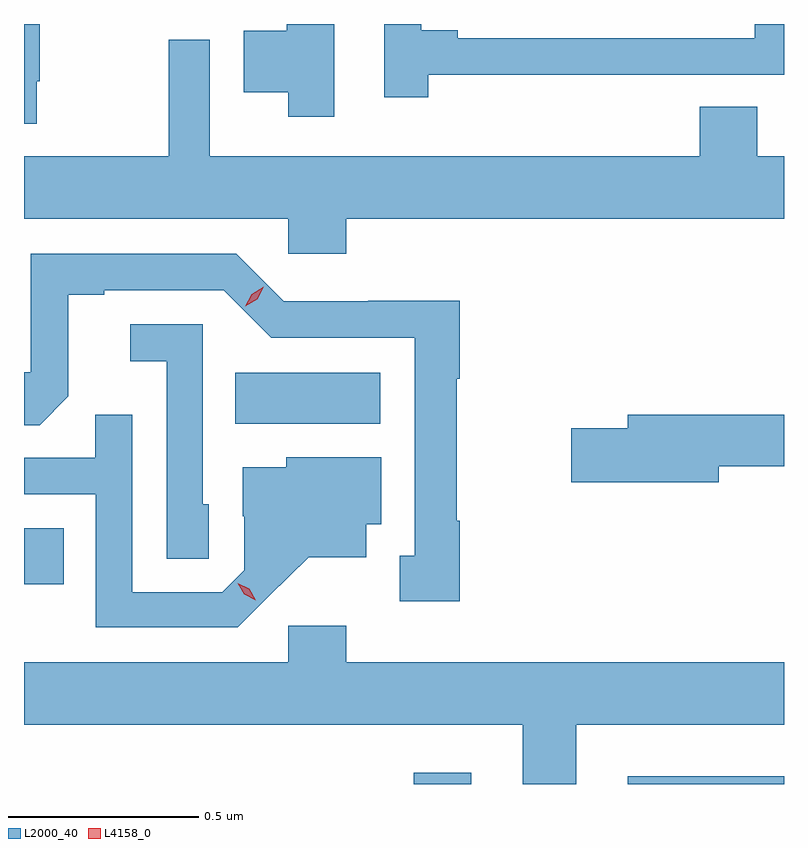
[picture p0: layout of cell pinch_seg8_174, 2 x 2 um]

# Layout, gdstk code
import gdstk
lib = gdstk.Library(unit=1e-6, precision=1e-09)
def R(c, l, rs):  # rectangles x0, y0, x1, y1
    for r in rs: c.add(gdstk.rectangle(r[:2], r[2:], *l))
def P(c, l, *ps):  # polygons
    for p in ps: c.add(gdstk.Polygon(p, *l))
L2000_40 = (2000, 40)
L4158_0 = (4158, 0)

pinch_seg8_174 = lib.new_cell('pinch_seg8_174')
R(pinch_seg8_174, L2000_40, [(695.057,1145.648,695.209,1145.677), (695.621,1145.648,696.032,1145.668), (694.032,1146.174,694.136,1146.321), (694.588,1146.596,694.969,1146.73)])
P(pinch_seg8_174, L2000_40, [(694.066,1147.498),(694.074,1147.498),(694.074,1147.648),(694.032,1147.648),(694.032,1147.386),(694.066,1147.386)],
  [(695.096,1147.514),(695.726,1147.514),(695.726,1147.515),(696.032,1147.515),(696.032,1147.648),(695.955,1147.648),(695.955,1147.611),(695.173,1147.611),(695.173,1147.631),(695.078,1147.631),(695.078,1147.648),(694.98,1147.648),(694.98,1147.455),(695.096,1147.455)],
  [(694.849,1147.648),(694.724,1147.648),(694.724,1147.63),(694.61,1147.63),(694.61,1147.469),(694.727,1147.469),(694.727,1147.404),(694.849,1147.404)],
  [(694.88,1147.136),(696.032,1147.136),(696.032,1147.3),(695.962,1147.3),(695.962,1147.43),(695.81,1147.43),(695.81,1147.3),(694.521,1147.3),(694.521,1147.606),(694.413,1147.606),(694.413,1147.3),(694.032,1147.3),(694.032,1147.136),(694.728,1147.136),(694.728,1147.043),(694.88,1147.043)],
  [(695.179,1146.341),(695.171,1146.341),(695.171,1146.715),(695.179,1146.715),(695.179,1146.92),(694.938,1146.92),(694.938,1146.918),(694.716,1146.918),(694.59,1147.044),(694.05,1147.044),(694.05,1146.732),(694.032,1146.732),(694.032,1146.592),(694.073,1146.592),(694.149,1146.668),(694.149,1146.936),(694.243,1146.936),(694.243,1146.948),(694.557,1146.948),(694.683,1146.822),(695.06,1146.822),(695.06,1146.249),(695.021,1146.249),(695.021,1146.129),(695.179,1146.129)],
  [(694.518,1146.384),(694.503,1146.384),(694.503,1146.858),(694.311,1146.858),(694.311,1146.761),(694.407,1146.761),(694.407,1146.241),(694.518,1146.241)],
  [(694.678,1146.143),(694.781,1146.245),(694.933,1146.245),(694.933,1146.332),(694.972,1146.332),(694.972,1146.508),(694.722,1146.508),(694.722,1146.481),(694.607,1146.481),(694.607,1146.352),(694.611,1146.352),(694.611,1146.21),(694.554,1146.153),(694.317,1146.153),(694.317,1146.62),(694.219,1146.62),(694.219,1146.507),(694.032,1146.507),(694.032,1146.411),(694.221,1146.411),(694.221,1146.06),(694.594,1146.06)],
  [(695.86,1146.484),(696.032,1146.484),(696.032,1146.62),(695.621,1146.62),(695.621,1146.584),(695.472,1146.584),(695.472,1146.442),(695.86,1146.442)],
  [(695.485,1145.804),(696.032,1145.804),(696.032,1145.968),(694.88,1145.968),(694.88,1146.064),(694.728,1146.064),(694.728,1145.968),(694.032,1145.968),(694.032,1145.804),(695.345,1145.804),(695.345,1145.648),(695.485,1145.648)])
P(pinch_seg8_174, L4158_0, [(694.614,1146.905),(694.614,1146.905),(694.631,1146.937),(694.663,1146.956),(694.663,1146.956),(694.663,1146.956),(694.646,1146.924),(694.614,1146.905)],
  [(694.642,1146.132),(694.612,1146.147),(694.594,1146.176),(694.594,1146.176),(694.594,1146.176),(694.625,1146.162),(694.642,1146.132),(694.642,1146.132)])

lib.write_gds('pinch_seg8_174.gds')
